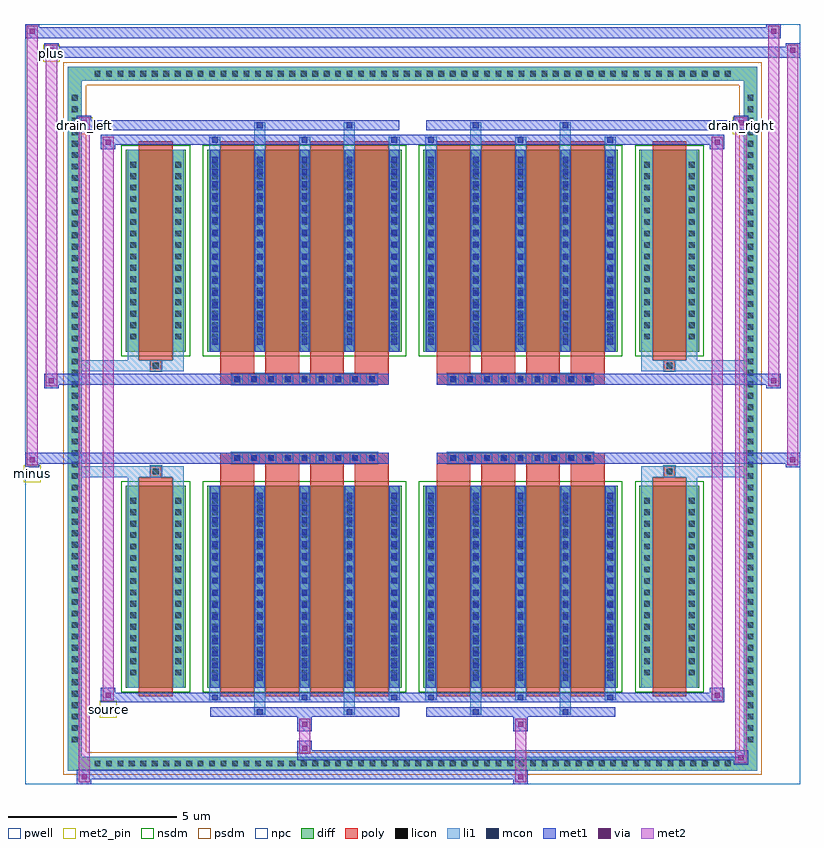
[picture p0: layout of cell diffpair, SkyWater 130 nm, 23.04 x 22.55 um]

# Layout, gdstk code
import gdstk
lib = gdstk.Library(unit=1e-6, precision=5e-09)
def R(c, l, rs):  # rectangles x0, y0, x1, y1
    for r in rs: c.add(gdstk.rectangle(r[:2], r[2:], *l))
def A(c, l, x, y, w, h, nx, ny, dx, dy):  # array of equal rectangles
    R(c, l, [(x+i*dx, y+j*dy, x+i*dx+w, y+j*dy+h) for i in range(nx) for j in range(ny)])
def P(c, l, *ps):  # polygons
    for p in ps: c.add(gdstk.Polygon(p, *l))
pwell = (64, 44)
diff = (65, 20)
poly = (66, 20)
licon = (66, 44)
li1 = (67, 20)
mcon = (67, 44)
met1 = (68, 20)
via = (68, 44)
met2_pin = (69, 16)
met2 = (69, 20)
nsdm = (93, 44)
psdm = (94, 20)
npc = (95, 20)

diffpair = lib.new_cell('diffpair')
R(diffpair, pwell, [(-11.5,-10.84,11.5,11.71), (-8.82,-9.03,-0.01,-0.805), (0.01,-9.03,8.82,-0.805), (-8.82,0.805,-0.01,9.03), (0.01,0.805,8.82,9.03)])
A(diffpair, diff, -9.555, -10.44, 0.41, 0.41, 56, 2, 0.34, 20.47)
A(diffpair, diff, -10.23, -9.725, 0.41, 0.41, 1, 57, 0, 0.34)
A(diffpair, diff, 9.82, -9.725, 0.41, 0.41, 1, 57, 0, 0.34)
R(diffpair, diff, [(-9.555,-10.44,9.555,-10.03), (-10.23,-9.725,-9.82,9.725), (9.82,-9.725,10.23,9.725), (-8.51,-7.985,-6.73,-1.985), (-6.09,-7.985,-0.32,-1.985), (0.32,-7.985,6.09,-1.985), (6.73,-7.985,8.51,-1.985), (-8.51,1.985,-6.73,7.985), (-6.09,1.985,-0.32,7.985), (0.32,1.985,6.09,7.985), (6.73,1.985,8.51,7.985), (-9.555,10.03,9.555,10.44)])
P(diffpair, diff, [(10.23,10.44),(-10.23,10.44),(-10.23,-10.03),(-9.82,-10.03),(-9.82,10.03),(9.82,10.03),(9.82,-10.03),(-9.82,-10.03),(-10.23,-10.03),(-10.23,-10.44),(10.23,-10.44)])
A(diffpair, poly, -5.7, -8.235, 1, 6.5, 4, 2, 1.33, 9.97)
A(diffpair, poly, 0.71, -8.235, 1, 6.5, 4, 2, 1.33, 9.97)
A(diffpair, poly, -5.7, -1.735, 1, 0.4, 4, 2, 1.33, 3.07)
A(diffpair, poly, 0.71, -1.735, 1, 0.4, 4, 2, 1.33, 3.07)
A(diffpair, poly, -5.37, -1.335, 0.33, 0.33, 9, 2, 0.5, 2.34)
A(diffpair, poly, 1.04, -1.335, 0.33, 0.33, 9, 2, 0.5, 2.34)
R(diffpair, poly, [(-8.12,-8.235,-7.12,-1.735), (7.12,-8.235,8.12,-1.735), (-7.785,-1.735,-7.455,-1.405), (-7.785,-1.735,-7.455,-1.405), (7.455,-1.735,7.785,-1.405), (7.455,-1.735,7.785,-1.405), (-5.7,-1.335,-0.71,-1.005), (0.71,-1.335,5.7,-1.005), (-5.7,1.005,-0.71,1.335), (0.71,1.005,5.7,1.335), (-7.785,1.405,-7.455,1.735), (-7.785,1.405,-7.455,1.735), (7.455,1.405,7.785,1.735), (7.455,1.405,7.785,1.735), (-8.12,1.735,-7.12,8.235), (7.12,1.735,8.12,8.235)])
A(diffpair, licon, -9.435, -10.32, 0.17, 0.17, 56, 2, 0.34, 20.47)
A(diffpair, licon, -10.11, -9.605, 0.17, 0.17, 1, 57, 0, 0.34)
A(diffpair, licon, 9.94, -9.605, 0.17, 0.17, 1, 57, 0, 0.34)
A(diffpair, licon, -8.37, -7.62, 0.17, 0.17, 1, 16, 0, 0.34)
A(diffpair, licon, -7.04, -7.62, 0.17, 0.17, 1, 16, 0, 0.34)
A(diffpair, licon, -5.95, -7.62, 0.17, 0.17, 5, 16, 1.33, 0.34)
A(diffpair, licon, 0.46, -7.62, 0.17, 0.17, 5, 16, 1.33, 0.34)
A(diffpair, licon, 6.87, -7.62, 0.17, 0.17, 1, 16, 0, 0.34)
A(diffpair, licon, 8.2, -7.62, 0.17, 0.17, 1, 16, 0, 0.34)
A(diffpair, licon, -5.29, -1.255, 0.17, 0.17, 9, 2, 0.5, 2.34)
A(diffpair, licon, 1.12, -1.255, 0.17, 0.17, 9, 2, 0.5, 2.34)
A(diffpair, licon, -8.37, 2.35, 0.17, 0.17, 1, 16, 0, 0.34)
A(diffpair, licon, -7.04, 2.35, 0.17, 0.17, 1, 16, 0, 0.34)
A(diffpair, licon, -5.95, 2.35, 0.17, 0.17, 5, 16, 1.33, 0.34)
A(diffpair, licon, 0.46, 2.35, 0.17, 0.17, 5, 16, 1.33, 0.34)
A(diffpair, licon, 6.87, 2.35, 0.17, 0.17, 1, 16, 0, 0.34)
A(diffpair, licon, 8.2, 2.35, 0.17, 0.17, 1, 16, 0, 0.34)
R(diffpair, licon, [(-7.705,-1.655,-7.535,-1.485), (7.535,-1.655,7.705,-1.485), (-7.705,1.485,-7.535,1.655), (7.535,1.485,7.705,1.655)])
A(diffpair, li1, -9.515, -10.4, 0.33, 0.33, 56, 2, 0.34, 20.47)
A(diffpair, li1, -10.19, -9.685, 0.33, 0.33, 1, 57, 0, 0.34)
A(diffpair, li1, 9.86, -9.685, 0.33, 0.33, 1, 57, 0, 0.34)
A(diffpair, li1, -6.03, -8.36, 0.33, 0.375, 3, 2, 2.66, 16.345)
A(diffpair, li1, -5.95, -8.36, 0.17, 0.17, 3, 2, 2.66, 16.55)
A(diffpair, li1, 0.38, -8.36, 0.33, 0.375, 3, 2, 2.66, 16.345)
A(diffpair, li1, 0.46, -8.36, 0.17, 0.17, 3, 2, 2.66, 16.55)
A(diffpair, li1, -6.03, -7.985, 0.33, 6, 5, 2, 1.33, 9.97)
A(diffpair, li1, 0.38, -7.985, 0.33, 6, 5, 2, 1.33, 9.97)
A(diffpair, li1, -5.95, -7.77, 0.17, 0.17, 5, 16, 1.33, 0.36)
A(diffpair, li1, -5.95, -7.77, 0.17, 5.57, 5, 2, 1.33, 9.97)
A(diffpair, li1, 0.46, -7.77, 0.17, 0.17, 5, 16, 1.33, 0.36)
A(diffpair, li1, 0.46, -7.77, 0.17, 5.57, 5, 2, 1.33, 9.97)
A(diffpair, li1, -8.45, -7.7, 0.33, 0.33, 1, 16, 0, 0.34)
A(diffpair, li1, -7.12, -7.7, 0.33, 0.33, 1, 16, 0, 0.34)
A(diffpair, li1, -6.03, -7.7, 0.33, 0.33, 5, 16, 1.33, 0.34)
A(diffpair, li1, 0.38, -7.7, 0.33, 0.33, 5, 16, 1.33, 0.34)
A(diffpair, li1, 6.79, -7.7, 0.33, 0.33, 1, 16, 0, 0.34)
A(diffpair, li1, 8.12, -7.7, 0.33, 0.33, 1, 16, 0, 0.34)
A(diffpair, li1, -5.37, -1.335, 0.33, 0.33, 9, 2, 0.5, 2.34)
A(diffpair, li1, 1.04, -1.335, 0.33, 0.33, 9, 2, 0.5, 2.34)
A(diffpair, li1, -5.95, 2.2, 0.17, 0.17, 5, 16, 1.33, 0.36)
A(diffpair, li1, 0.46, 2.2, 0.17, 0.17, 5, 16, 1.33, 0.36)
A(diffpair, li1, -8.45, 2.27, 0.33, 0.33, 1, 16, 0, 0.34)
A(diffpair, li1, -7.12, 2.27, 0.33, 0.33, 1, 16, 0, 0.34)
A(diffpair, li1, -6.03, 2.27, 0.33, 0.33, 5, 16, 1.33, 0.34)
A(diffpair, li1, 0.38, 2.27, 0.33, 0.33, 5, 16, 1.33, 0.34)
A(diffpair, li1, 6.79, 2.27, 0.33, 0.33, 1, 16, 0, 0.34)
A(diffpair, li1, 8.12, 2.27, 0.33, 0.33, 1, 16, 0, 0.34)
R(diffpair, li1, [(-10.23,-10.44,-9.82,-10.03), (-10.23,-10.44,-9.82,-10.03), (-9.82,-10.44,9.82,-10.03), (9.82,-10.44,10.23,-10.03), (9.82,-10.44,10.23,-10.03), (-10.23,-10.03,-9.82,10.03), (9.82,-10.03,10.23,10.03), (-4.7,-8.79,-4.37,-7.985), (-4.62,-8.79,-4.45,-8.62), (-2.04,-8.79,-1.71,-7.985), (-1.96,-8.79,-1.79,-8.62), (1.71,-8.79,2.04,-7.985), (1.79,-8.79,1.96,-8.62), (4.37,-8.79,4.7,-7.985), (4.45,-8.79,4.62,-8.62), (-8.45,-7.985,-8.12,-1.985), (-7.12,-7.985,-6.79,-1.985), (6.79,-7.985,7.12,-1.985), (8.12,-7.985,8.45,-1.985), (-8.45,-1.985,-8.12,-1.405), (-7.12,-1.985,-6.79,-1.405), (6.79,-1.985,7.12,-1.405), (8.12,-1.985,8.45,-1.405), (-10.23,-1.735,-7.785,-1.405), (-8.45,-1.735,-7.785,-1.405), (-7.785,-1.735,-7.455,-1.405), (-7.455,-1.735,-6.79,-1.405), (6.79,-1.735,7.455,-1.405), (7.455,-1.735,7.785,-1.405), (7.455,-1.735,10.23,-1.405), (7.785,-1.735,8.45,-1.405), (-10.23,1.405,-7.785,1.735), (-8.45,1.405,-7.785,1.735), (-8.45,1.405,-8.12,1.985), (-7.785,1.405,-7.455,1.735), (-7.455,1.405,-6.79,1.735), (-7.12,1.405,-6.79,1.985), (6.79,1.405,7.455,1.735), (6.79,1.405,7.12,1.985), (7.455,1.405,7.785,1.735), (7.455,1.405,10.23,1.735), (7.785,1.405,8.45,1.735), (8.12,1.405,8.45,1.985), (-8.45,1.985,-8.12,7.985), (-7.12,1.985,-6.79,7.985), (6.79,1.985,7.12,7.985), (8.12,1.985,8.45,7.985), (-4.7,7.985,-4.37,8.79), (-2.04,7.985,-1.71,8.79), (1.71,7.985,2.04,8.79), (4.37,7.985,4.7,8.79), (-4.62,8.62,-4.45,8.79), (-1.96,8.62,-1.79,8.79), (1.79,8.62,1.96,8.79), (4.45,8.62,4.62,8.79), (-10.23,10.03,-9.82,10.44), (-10.23,10.03,-9.82,10.44), (-9.82,10.03,9.82,10.44), (9.82,10.03,10.23,10.44), (9.82,10.03,10.23,10.44)])
A(diffpair, mcon, -5.95, -8.36, 0.17, 0.17, 3, 2, 2.66, 16.55)
A(diffpair, mcon, 0.46, -8.36, 0.17, 0.17, 3, 2, 2.66, 16.55)
A(diffpair, mcon, -5.95, -7.77, 0.17, 0.17, 5, 16, 1.33, 0.36)
A(diffpair, mcon, 0.46, -7.77, 0.17, 0.17, 5, 16, 1.33, 0.36)
A(diffpair, mcon, -5.29, -1.255, 0.17, 0.17, 9, 2, 0.5, 2.34)
A(diffpair, mcon, 1.12, -1.255, 0.17, 0.17, 9, 2, 0.5, 2.34)
A(diffpair, mcon, -5.95, 2.2, 0.17, 0.17, 5, 16, 1.33, 0.36)
A(diffpair, mcon, 0.46, 2.2, 0.17, 0.17, 5, 16, 1.33, 0.36)
R(diffpair, mcon, [(-4.62,-8.79,-4.45,-8.62), (-1.96,-8.79,-1.79,-8.62), (1.79,-8.79,1.96,-8.62), (4.45,-8.79,4.62,-8.62), (-4.62,8.62,-4.45,8.79), (-1.96,8.62,-1.79,8.79), (1.79,8.62,1.96,8.79), (4.45,8.62,4.62,8.79)])
A(diffpair, met1, -6.01, -8.42, 0.29, 0.29, 3, 2, 2.66, 16.55)
A(diffpair, met1, 0.4, -8.42, 0.29, 0.29, 3, 2, 2.66, 16.55)
A(diffpair, met1, -6.01, -7.985, 0.29, 6, 5, 2, 1.33, 9.97)
A(diffpair, met1, 0.4, -7.985, 0.29, 6, 5, 2, 1.33, 9.97)
A(diffpair, met1, -6.01, -7.83, 0.29, 0.29, 5, 16, 1.33, 0.36)
A(diffpair, met1, 0.4, -7.83, 0.29, 0.29, 5, 16, 1.33, 0.36)
A(diffpair, met1, -5.35, -1.315, 0.29, 0.29, 9, 2, 0.5, 2.34)
A(diffpair, met1, 1.06, -1.315, 0.29, 0.29, 9, 2, 0.5, 2.34)
A(diffpair, met1, -6.01, 2.14, 0.29, 0.29, 5, 16, 1.33, 0.36)
A(diffpair, met1, 0.4, 2.14, 0.29, 0.29, 5, 16, 1.33, 0.36)
R(diffpair, met1, [(-9.96,-10.84,-9.53,-10.41), (2.99,-10.84,3.42,-10.41), (-9.96,-10.7,3.42,-10.41), (9.53,-10.27,9.96,-9.84), (-3.42,-10.13,9.96,-9.84), (-3.42,-9.99,-2.99,-9.56), (-3.42,-9.28,-2.99,-8.85), (2.99,-9.28,3.42,-8.85), (-6.01,-8.85,-0.4,-8.56), (-4.68,-8.85,-4.39,-8.56), (-2.02,-8.85,-1.73,-8.56), (0.4,-8.85,6.01,-8.56), (1.73,-8.85,2.02,-8.56), (4.39,-8.85,4.68,-8.56), (-9.25,-8.42,-8.82,-7.99), (-9.25,-8.42,-6.01,-8.13), (-6.01,-8.42,-0.4,-8.13), (-0.4,-8.42,0.4,-8.13), (0.4,-8.42,6.01,-8.13), (6.01,-8.42,9.25,-8.13), (8.82,-8.42,9.25,-7.99), (-11.5,-1.435,-11.07,-1.005), (11.07,-1.435,11.5,-1.005), (-11.5,-1.335,-0.71,-1.005), (-5.7,-1.335,-0.71,-1.005), (0.71,-1.335,5.7,-1.005), (0.71,-1.335,11.5,-1.005), (-10.93,0.905,-10.5,1.335), (10.5,0.905,10.93,1.335), (-10.93,1.005,-5.7,1.335), (-5.7,1.005,-0.71,1.335), (0.71,1.005,5.7,1.335), (5.7,1.005,10.93,1.335), (-9.25,7.99,-8.82,8.42), (8.82,7.99,9.25,8.42), (-9.25,8.13,-6.01,8.42), (-6.01,8.13,-0.4,8.42), (-0.4,8.13,0.4,8.42), (0.4,8.13,6.01,8.42), (6.01,8.13,9.25,8.42), (-9.96,8.56,-9.53,8.99), (-9.96,8.56,-6.01,8.85), (-6.01,8.56,-0.4,8.85), (-4.68,8.56,-4.39,8.85), (-2.02,8.56,-1.73,8.85), (0.4,8.56,6.01,8.85), (1.73,8.56,2.02,8.85), (4.39,8.56,4.68,8.85), (6.01,8.56,9.96,8.85), (9.53,8.56,9.96,8.99), (-10.93,10.71,-10.5,11.14), (-10.93,10.71,-8.82,11.04), (-8.82,10.71,8.82,11.04), (8.82,10.71,11.5,11.04), (11.07,10.71,11.5,11.14), (-11.5,11.28,-11.07,11.71), (-11.5,11.28,-8.82,11.61), (-8.82,11.28,8.82,11.61), (8.82,11.28,10.93,11.61), (10.5,11.28,10.93,11.71)])
R(diffpair, via, [(-9.82,-10.7,-9.67,-10.55), (3.13,-10.7,3.28,-10.55), (9.67,-10.13,9.82,-9.98), (-3.28,-9.85,-3.13,-9.7), (-3.28,-9.14,-3.13,-8.99), (3.13,-9.14,3.28,-8.99), (-9.11,-8.28,-8.96,-8.13), (8.96,-8.28,9.11,-8.13), (-11.36,-1.295,-11.21,-1.145), (11.21,-1.295,11.36,-1.145), (-10.79,1.045,-10.64,1.195), (10.64,1.045,10.79,1.195), (-9.11,8.13,-8.96,8.28), (8.96,8.13,9.11,8.28), (-9.82,8.7,-9.67,8.85), (9.67,8.7,9.82,8.85), (-10.79,10.85,-10.64,11), (11.21,10.85,11.36,11), (-11.36,11.42,-11.21,11.57), (10.64,11.42,10.79,11.57)])
R(diffpair, met2_pin, [(-9.285,-8.87,-8.785,-8.37), (-11.535,-1.885,-11.035,-1.385), (-9.995,8.44,-9.495,8.94), (9.495,8.44,9.995,8.94), (-10.965,10.59,-10.465,11.09)])
R(diffpair, met2, [(-9.91,-10.79,-9.58,-10.46), (-9.91,-10.79,-9.58,8.94), (3.04,-10.79,3.37,-10.46), (3.04,-10.46,3.37,-9.23), (9.58,-10.22,9.91,-9.89), (9.58,-10.22,9.91,8.94), (-3.37,-9.94,-3.04,-9.61), (-3.37,-9.61,-3.04,-9.23), (-3.37,-9.23,-3.04,-8.9), (3.04,-9.23,3.37,-8.9), (-9.2,-8.37,-8.87,-8.04), (-9.2,-8.37,-8.87,8.37), (8.87,-8.37,9.2,-8.04), (8.87,-8.37,9.2,8.37), (-11.45,-1.385,-11.12,-1.055), (-11.45,-1.385,-11.12,11.66), (11.12,-1.385,11.45,-1.055), (11.12,-1.385,11.45,11.09), (-10.88,0.955,-10.55,1.285), (-10.88,0.955,-10.55,11.09), (10.55,0.955,10.88,1.285), (10.55,0.955,10.88,11.66), (-9.2,8.04,-8.87,8.37), (8.87,8.04,9.2,8.37), (-9.91,8.61,-9.58,8.94), (9.58,8.61,9.91,8.94), (-10.88,10.76,-10.55,11.09), (11.12,10.76,11.45,11.09), (-11.45,11.33,-11.12,11.66), (10.55,11.33,10.88,11.66)])
P(diffpair, met2, [(11.45,-1.385),(11.45,-1.385),(11.45,-1.055),(11.45,-1.055)],
  [(11.45,10.76),(11.45,10.76),(11.45,11.09),(11.45,11.09)],
  [(-11.12,-1.385),(-11.12,-1.385),(-11.12,-1.055),(-11.12,-1.055)],
  [(-11.12,11.33),(-11.12,11.33),(-11.12,11.66),(-11.12,11.66)],
  [(10.88,0.955),(10.88,0.955),(10.88,1.285),(10.88,1.285)],
  [(10.88,11.33),(10.88,11.33),(10.88,11.66),(10.88,11.66)],
  [(-10.55,0.955),(-10.55,0.955),(-10.55,1.285),(-10.55,1.285)],
  [(-10.55,10.76),(-10.55,10.76),(-10.55,11.09),(-10.55,11.09)],
  [(-9.58,-10.79),(-9.58,-10.79),(-9.58,-10.46),(-9.58,-10.46)],
  [(-9.58,8.61),(-9.58,8.61),(-9.58,8.94),(-9.58,8.94)],
  [(9.91,-10.22),(9.91,-10.22),(9.91,-9.89),(9.91,-9.89)],
  [(9.91,8.61),(9.91,8.61),(9.91,8.94),(9.91,8.94)],
  [(-8.87,-8.37),(-8.87,-8.37),(-8.87,-8.04),(-8.87,-8.04)],
  [(-8.87,8.04),(-8.87,8.04),(-8.87,8.37),(-8.87,8.37)],
  [(9.2,-8.37),(9.2,-8.37),(9.2,-8.04),(9.2,-8.04)],
  [(9.2,8.04),(9.2,8.04),(9.2,8.37),(9.2,8.37)])
R(diffpair, nsdm, [(-8.64,-8.115,-6.6,-1.855), (-6.22,-8.115,-0.19,-1.855), (0.19,-8.115,6.22,-1.855), (6.6,-8.115,8.64,-1.855), (-8.64,1.855,-6.6,8.115), (-6.22,1.855,-0.19,8.115), (0.19,1.855,6.22,8.115), (6.6,1.855,8.64,8.115)])
P(diffpair, psdm, [(10.36,10.57),(-10.36,10.57),(-10.36,-9.9),(-9.69,-9.9),(-9.69,9.9),(9.69,9.9),(9.69,-9.9),(-9.69,-9.9),(-10.36,-9.9),(-10.36,-10.57),(10.36,-10.57)])
A(diffpair, npc, -5.39, -1.355, 0.37, 0.37, 9, 2, 0.5, 2.34)
A(diffpair, npc, 1.02, -1.355, 0.37, 0.37, 9, 2, 0.5, 2.34)
R(diffpair, npc, [(-7.805,-1.755,-7.435,-1.385), (7.435,-1.755,7.805,-1.385), (-5.39,-1.355,-4.52,-0.985), (-5.39,-1.355,-4.52,-0.985), (-4.89,-1.355,-4.02,-0.985), (-4.89,-1.355,-4.02,-0.985), (-4.39,-1.355,-3.52,-0.985), (-4.39,-1.355,-3.52,-0.985), (-3.89,-1.355,-3.02,-0.985), (-3.89,-1.355,-3.02,-0.985), (-3.39,-1.355,-2.52,-0.985), (-3.39,-1.355,-2.52,-0.985), (-2.89,-1.355,-2.02,-0.985), (-2.89,-1.355,-2.02,-0.985), (-2.39,-1.355,-1.52,-0.985), (-2.39,-1.355,-1.52,-0.985), (-1.89,-1.355,-1.02,-0.985), (-1.89,-1.355,-1.02,-0.985), (1.02,-1.355,1.89,-0.985), (1.02,-1.355,1.89,-0.985), (1.52,-1.355,2.39,-0.985), (1.52,-1.355,2.39,-0.985), (2.02,-1.355,2.89,-0.985), (2.02,-1.355,2.89,-0.985), (2.52,-1.355,3.39,-0.985), (2.52,-1.355,3.39,-0.985), (3.02,-1.355,3.89,-0.985), (3.02,-1.355,3.89,-0.985), (3.52,-1.355,4.39,-0.985), (3.52,-1.355,4.39,-0.985), (4.02,-1.355,4.89,-0.985), (4.02,-1.355,4.89,-0.985), (4.52,-1.355,5.39,-0.985), (4.52,-1.355,5.39,-0.985), (-5.39,0.985,-4.52,1.355), (-5.39,0.985,-4.52,1.355), (-4.89,0.985,-4.02,1.355), (-4.89,0.985,-4.02,1.355), (-4.39,0.985,-3.52,1.355), (-4.39,0.985,-3.52,1.355), (-3.89,0.985,-3.02,1.355), (-3.89,0.985,-3.02,1.355), (-3.39,0.985,-2.52,1.355), (-3.39,0.985,-2.52,1.355), (-2.89,0.985,-2.02,1.355), (-2.89,0.985,-2.02,1.355), (-2.39,0.985,-1.52,1.355), (-2.39,0.985,-1.52,1.355), (-1.89,0.985,-1.02,1.355), (-1.89,0.985,-1.02,1.355), (1.02,0.985,1.89,1.355), (1.02,0.985,1.89,1.355), (1.52,0.985,2.39,1.355), (1.52,0.985,2.39,1.355), (2.02,0.985,2.89,1.355), (2.02,0.985,2.89,1.355), (2.52,0.985,3.39,1.355), (2.52,0.985,3.39,1.355), (3.02,0.985,3.89,1.355), (3.02,0.985,3.89,1.355), (3.52,0.985,4.39,1.355), (3.52,0.985,4.39,1.355), (4.02,0.985,4.89,1.355), (4.02,0.985,4.89,1.355), (4.52,0.985,5.39,1.355), (4.52,0.985,5.39,1.355), (-7.805,1.385,-7.435,1.755), (7.435,1.385,7.805,1.755)])
diffpair.add(gdstk.Label('minus', (-11.285,-1.635), layer=69, texttype=5))
diffpair.add(gdstk.Label('drain_right', (9.745,8.69), layer=69, texttype=5))
diffpair.add(gdstk.Label('drain_left', (-9.745,8.69), layer=69, texttype=5))
diffpair.add(gdstk.Label('source', (-9.035,-8.62), layer=69, texttype=5))
diffpair.add(gdstk.Label('plus', (-10.715,10.84), layer=69, texttype=5))

lib.write_gds('diffpair.gds')
